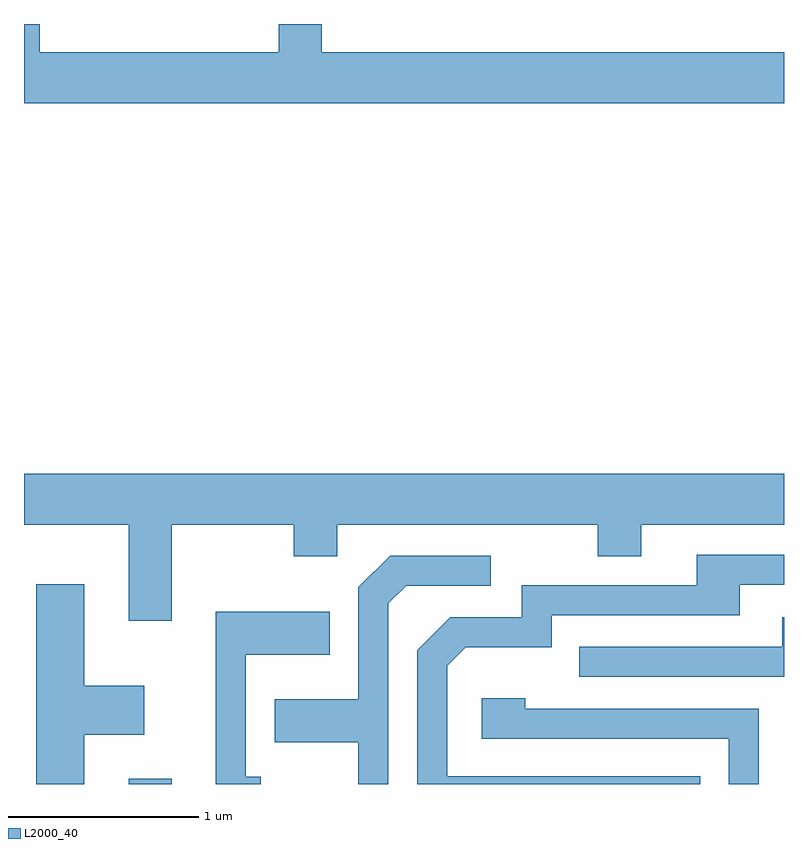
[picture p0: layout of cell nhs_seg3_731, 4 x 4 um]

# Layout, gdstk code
import gdstk
lib = gdstk.Library(unit=1e-6, precision=1e-09)
def R(c, l, rs):  # rectangles x0, y0, x1, y1
    for r in rs: c.add(gdstk.rectangle(r[:2], r[2:], *l))
def P(c, l, *ps):  # polygons
    for p in ps: c.add(gdstk.Polygon(p, *l))
L2000_40 = (2000, 40)

nhs_seg3_731 = lib.new_cell('nhs_seg3_731')
R(nhs_seg3_731, L2000_40, [(206.161,1217.892,206.389,1217.919)])
P(nhs_seg3_731, L2000_40, [(209.611,1221.744),(207.179,1221.744),(207.179,1221.892),(206.951,1221.892),(206.951,1221.744),(205.694,1221.744),(205.694,1221.892),(205.611,1221.892),(205.611,1221.476),(209.611,1221.476)],
  [(206.389,1219.256),(207.031,1219.256),(207.031,1219.091),(207.259,1219.091),(207.259,1219.256),(208.631,1219.256),(208.631,1219.091),(208.859,1219.091),(208.859,1219.256),(209.611,1219.256),(209.611,1219.524),(205.611,1219.524),(205.611,1219.256),(206.161,1219.256),(206.161,1218.751),(206.389,1218.751)],
  [(209.169,1217.934),(207.839,1217.934),(207.839,1218.514),(207.937,1218.611),(208.389,1218.611),(208.389,1218.781),(209.379,1218.781),(209.379,1218.941),(209.611,1218.941),(209.611,1219.099),(209.151,1219.099),(209.151,1218.939),(208.231,1218.939),(208.231,1218.769),(207.854,1218.769),(207.681,1218.597),(207.681,1217.892),(209.169,1217.892)],
  [(207.529,1218.844),(207.622,1218.936),(208.068,1218.936),(208.068,1219.094),(207.539,1219.094),(207.371,1218.927),(207.371,1218.339),(206.931,1218.339),(206.931,1218.111),(207.371,1218.111),(207.371,1217.892),(207.529,1217.892)],
  [(205.929,1218.151),(206.244,1218.151),(206.244,1218.409),(205.929,1218.409),(205.929,1218.944),(205.676,1218.944),(205.676,1217.892),(205.929,1217.892)],
  [(206.858,1217.929),(206.779,1217.929),(206.779,1218.571),(207.219,1218.571),(207.219,1218.799),(206.621,1218.799),(206.621,1217.892),(206.858,1217.892)],
  [(209.611,1218.769),(209.601,1218.769),(209.601,1218.614),(208.533,1218.614),(208.533,1218.456),(209.611,1218.456)],
  [(209.479,1218.289),(208.249,1218.289),(208.249,1218.344),(208.021,1218.344),(208.021,1218.131),(209.321,1218.131),(209.321,1217.892),(209.479,1217.892)])

lib.write_gds('nhs_seg3_731.gds')
